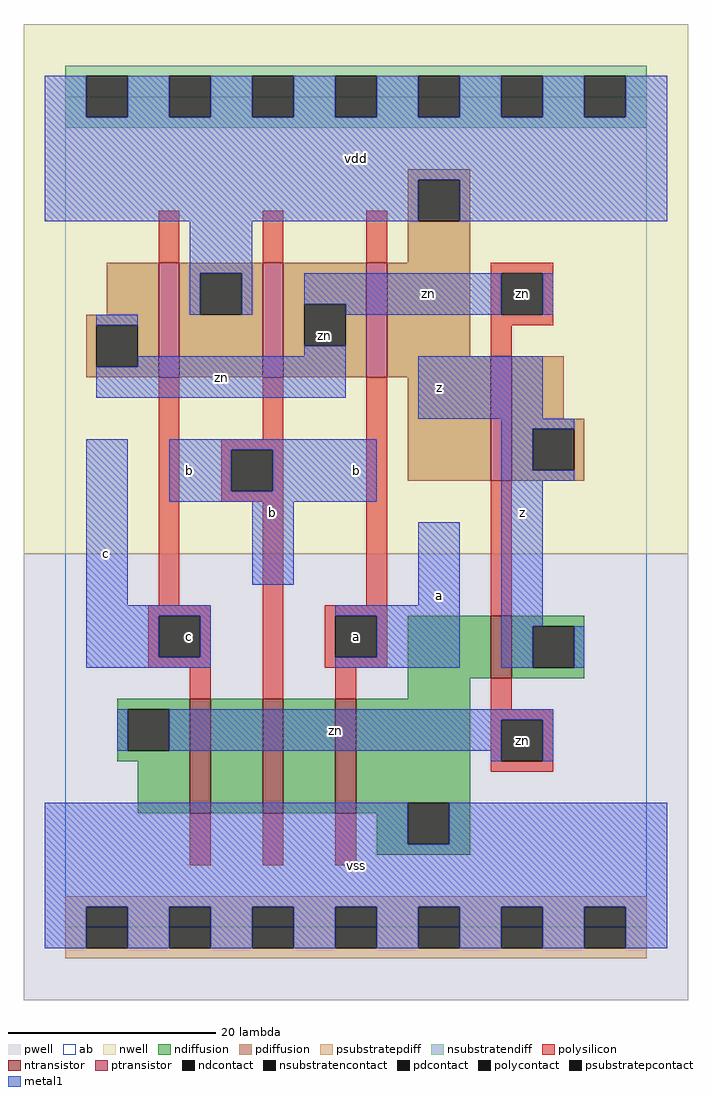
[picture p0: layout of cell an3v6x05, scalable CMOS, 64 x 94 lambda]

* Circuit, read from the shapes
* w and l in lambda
.subckt an3v6x05 a b c vdd vss z zn
M1 n1 c zn vss nfet w=11 l=2
M2 n2 b n1 vss nfet w=11 l=2
M3 vss a n2 vss nfet w=11 l=2
M4 z zn vss vss nfet w=6 l=2
M5 vdd c zn vdd pfet w=11 l=2
M6 zn b vdd vdd pfet w=11 l=2
M7 vdd a zn vdd pfet w=11 l=2
M8 z zn vdd vdd pfet w=12 l=2
.ends

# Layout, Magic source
magic
tech scmos
<< ab >>
rect 0 0 56 80
<< pwell >>
rect -4 -7 60 36
<< nwell >>
rect -4 36 60 87
<< polysilicon >>
rect 9 64 11 69
rect 19 64 21 69
rect 29 64 31 69
rect 41 63 47 64
rect 41 59 42 63
rect 46 59 47 63
rect 41 58 47 59
rect 41 55 43 58
rect 9 31 11 53
rect 19 47 21 53
rect 15 46 21 47
rect 15 42 16 46
rect 20 42 21 46
rect 15 41 21 42
rect 8 30 14 31
rect 8 26 9 30
rect 13 26 14 30
rect 8 25 14 26
rect 12 22 14 25
rect 19 22 21 41
rect 29 31 31 53
rect 25 30 31 31
rect 41 30 43 43
rect 25 26 26 30
rect 30 26 31 30
rect 25 25 31 26
rect 26 22 28 25
rect 41 21 43 24
rect 41 20 47 21
rect 41 16 42 20
rect 46 16 47 20
rect 41 15 47 16
rect 12 6 14 11
rect 19 6 21 11
rect 26 6 28 11
<< ndiffusion >>
rect 33 24 41 30
rect 43 29 50 30
rect 43 25 45 29
rect 49 25 50 29
rect 43 24 50 25
rect 33 22 39 24
rect 5 21 12 22
rect 5 17 6 21
rect 10 17 12 21
rect 5 16 12 17
rect 7 11 12 16
rect 14 11 19 22
rect 21 11 26 22
rect 28 12 39 22
rect 28 11 33 12
rect 30 8 33 11
rect 37 8 39 12
rect 30 7 39 8
<< pdiffusion >>
rect 33 72 39 73
rect 33 68 34 72
rect 38 68 39 72
rect 33 64 39 68
rect 4 59 9 64
rect 2 58 9 59
rect 2 54 3 58
rect 7 54 9 58
rect 2 53 9 54
rect 11 63 19 64
rect 11 59 13 63
rect 17 59 19 63
rect 11 53 19 59
rect 21 60 29 64
rect 21 56 23 60
rect 27 56 29 60
rect 21 53 29 56
rect 31 55 39 64
rect 31 53 41 55
rect 33 43 41 53
rect 43 49 48 55
rect 43 48 50 49
rect 43 44 45 48
rect 49 44 50 48
rect 43 43 50 44
<< metal1 >>
rect -2 78 2 82
rect 6 78 10 82
rect 14 78 18 82
rect 22 78 26 82
rect 30 78 34 82
rect 38 78 42 82
rect 46 78 50 82
rect 54 78 58 82
rect -2 72 58 78
rect -2 68 34 72
rect 38 68 58 72
rect 12 63 18 68
rect 12 59 13 63
rect 17 59 18 63
rect 23 60 42 63
rect 3 58 7 59
rect 27 59 42 60
rect 46 59 47 63
rect 23 55 27 56
rect 7 54 27 55
rect 3 51 27 54
rect 34 49 46 55
rect 42 48 49 49
rect 2 31 6 47
rect 10 46 30 47
rect 10 42 16 46
rect 20 42 30 46
rect 10 41 30 42
rect 42 44 45 48
rect 42 43 49 44
rect 18 33 22 41
rect 34 31 38 39
rect 2 30 14 31
rect 2 26 9 30
rect 13 26 14 30
rect 2 25 14 26
rect 26 30 38 31
rect 30 26 38 30
rect 26 25 38 26
rect 42 29 46 43
rect 42 25 45 29
rect 49 25 50 29
rect 5 17 6 21
rect 10 20 47 21
rect 10 17 42 20
rect 41 16 42 17
rect 46 16 47 20
rect -2 8 33 12
rect 37 8 58 12
rect -2 2 58 8
rect -2 -2 2 2
rect 6 -2 10 2
rect 14 -2 18 2
rect 22 -2 26 2
rect 30 -2 34 2
rect 38 -2 42 2
rect 46 -2 50 2
rect 54 -2 58 2
<< ntransistor >>
rect 41 24 43 30
rect 12 11 14 22
rect 19 11 21 22
rect 26 11 28 22
<< ptransistor >>
rect 9 53 11 64
rect 19 53 21 64
rect 29 53 31 64
rect 41 43 43 55
<< polycontact >>
rect 42 59 46 63
rect 16 42 20 46
rect 9 26 13 30
rect 26 26 30 30
rect 42 16 46 20
<< ndcontact >>
rect 45 25 49 29
rect 6 17 10 21
rect 33 8 37 12
<< pdcontact >>
rect 34 68 38 72
rect 3 54 7 58
rect 13 59 17 63
rect 23 56 27 60
rect 45 44 49 48
<< psubstratepcontact >>
rect 2 -2 6 2
rect 10 -2 14 2
rect 18 -2 22 2
rect 26 -2 30 2
rect 34 -2 38 2
rect 42 -2 46 2
rect 50 -2 54 2
<< nsubstratencontact >>
rect 2 78 6 82
rect 10 78 14 82
rect 18 78 22 82
rect 26 78 30 82
rect 34 78 38 82
rect 42 78 46 82
rect 50 78 54 82
<< psubstratepdiff >>
rect 0 2 56 3
rect 0 -2 2 2
rect 6 -2 10 2
rect 14 -2 18 2
rect 22 -2 26 2
rect 30 -2 34 2
rect 38 -2 42 2
rect 46 -2 50 2
rect 54 -2 56 2
rect 0 -3 56 -2
<< nsubstratendiff >>
rect 0 82 56 83
rect 0 78 2 82
rect 6 78 10 82
rect 14 78 18 82
rect 22 78 26 82
rect 30 78 34 82
rect 38 78 42 82
rect 46 78 50 82
rect 54 78 56 82
rect 0 77 56 78
<< labels >>
rlabel polycontact 44 18 44 18 6 zn
rlabel polycontact 44 61 44 61 6 zn
rlabel metal1 4 36 4 36 6 c
rlabel polycontact 12 28 12 28 6 c
rlabel metal1 20 40 20 40 6 b
rlabel metal1 12 44 12 44 6 b
rlabel metal1 15 53 15 53 6 zn
rlabel pdcontact 25 57 25 57 6 zn
rlabel metal1 28 6 28 6 6 vss
rlabel polycontact 28 28 28 28 6 a
rlabel metal1 36 32 36 32 6 a
rlabel metal1 28 44 28 44 6 b
rlabel metal1 36 52 36 52 6 z
rlabel metal1 28 74 28 74 6 vdd
rlabel metal1 26 19 26 19 6 zn
rlabel metal1 44 40 44 40 6 z
rlabel metal1 35 61 35 61 6 zn
<< end >>
